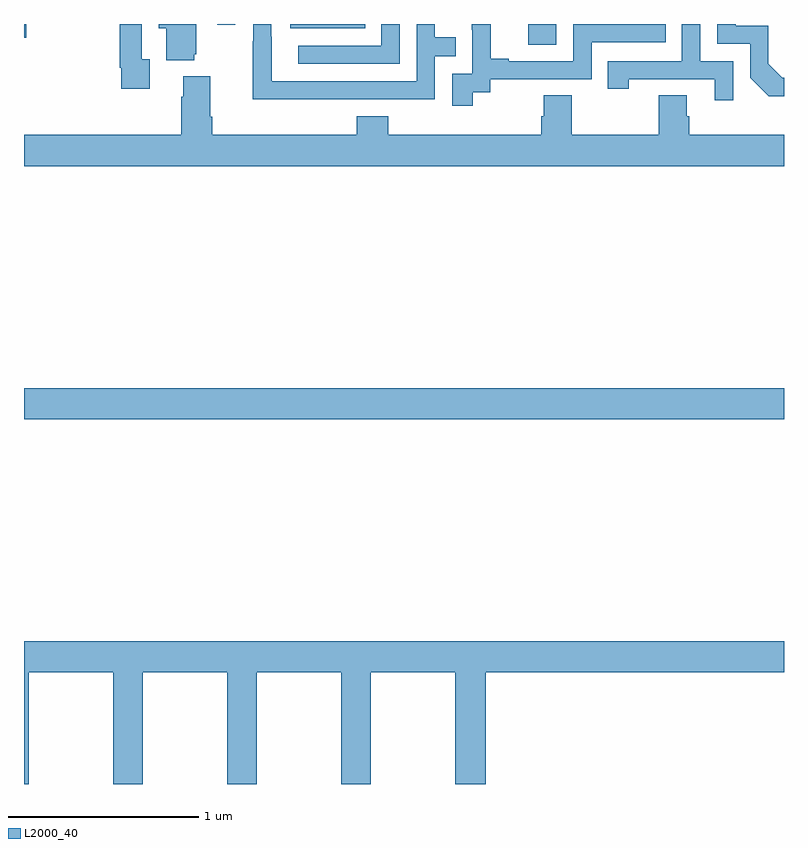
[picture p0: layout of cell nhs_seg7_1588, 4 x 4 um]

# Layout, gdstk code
import gdstk
lib = gdstk.Library(unit=1e-6, precision=1e-09)
def R(c, l, rs):  # rectangles x0, y0, x1, y1
    for r in rs: c.add(gdstk.rectangle(r[:2], r[2:], *l))
def P(c, l, *ps):  # polygons
    for p in ps: c.add(gdstk.Polygon(p, *l))
L2000_40 = (2000, 40)

nhs_seg7_1588 = lib.new_cell('nhs_seg7_1588')
R(nhs_seg7_1588, L2000_40, [(219,1029.92,223,1030.084), (221.655,1031.892,221.802,1032), (219,1031.927,219.013,1032), (220.4,1031.978,220.796,1032), (220.017,1031.997,220.113,1032)])
P(nhs_seg7_1588, L2000_40, [(222.732,1031.805),(222.558,1031.805),(222.558,1032),(222.462,1032),(222.462,1031.805),(222.073,1031.805),(222.073,1031.658),(222.184,1031.658),(222.184,1031.709),(222.635,1031.709),(222.635,1031.598),(222.732,1031.598)],
  [(220.667,1031.604),(221.163,1031.604),(221.163,1031.829),(221.273,1031.829),(221.273,1031.93),(221.163,1031.93),(221.163,1032),(221.067,1032),(221.067,1031.7),(220.303,1031.7),(220.303,1031.933),(220.302,1031.933),(220.302,1032),(220.206,1032),(220.206,1031.909),(220.204,1031.909),(220.204,1031.603),(220.667,1031.603)],
  [(221.362,1031.641),(221.454,1031.641),(221.454,1031.709),(221.988,1031.709),(221.988,1031.904),(222.377,1031.904),(222.377,1032),(221.892,1032),(221.892,1031.805),(221.551,1031.805),(221.551,1031.818),(221.456,1031.818),(221.456,1032),(221.357,1032),(221.357,1031.969),(221.358,1031.969),(221.358,1031.739),(221.253,1031.739),(221.253,1031.571),(221.362,1031.571)],
  [(219.661,1031.814),(219.621,1031.814),(219.621,1032),(219.505,1032),(219.505,1031.77),(219.513,1031.77),(219.513,1031.658),(219.661,1031.658)],
  [(220.977,1032),(220.881,1032),(220.881,1031.886),(220.443,1031.886),(220.443,1031.79),(220.977,1031.79)],
  [(223,1031.718),(222.99,1031.718),(222.918,1031.79),(222.918,1031.991),(222.745,1031.991),(222.745,1032),(222.648,1032),(222.648,1031.895),(222.822,1031.895),(222.822,1031.718),(222.92,1031.621),(223,1031.621)],
  [(219.896,1031.841),(219.907,1031.841),(219.907,1032),(219.71,1032),(219.71,1031.978),(219.749,1031.978),(219.749,1031.81),(219.896,1031.81)],
  [(223,1031.416),(222.5,1031.416),(222.5,1031.514),(222.487,1031.514),(222.487,1031.624),(222.34,1031.624),(222.34,1031.416),(221.883,1031.416),(221.883,1031.624),(221.735,1031.624),(221.735,1031.514),(221.723,1031.514),(221.723,1031.416),(220.916,1031.416),(220.916,1031.515),(220.751,1031.515),(220.751,1031.416),(219.992,1031.416),(219.992,1031.512),(219.979,1031.512),(219.979,1031.725),(219.839,1031.725),(219.839,1031.618),(219.827,1031.618),(219.827,1031.416),(219,1031.416),(219,1031.252),(223,1031.252)],
  [(219.024,1028.588),(219.469,1028.588),(219.469,1028),(219.624,1028),(219.624,1028.588),(220.069,1028.588),(220.069,1028),(220.224,1028),(220.224,1028.588),(220.669,1028.588),(220.669,1028),(220.824,1028),(220.824,1028.588),(221.269,1028.588),(221.269,1028),(221.429,1028),(221.429,1028.588),(223,1028.588),(223,1028.752),(219,1028.752),(219,1028),(219.024,1028)])

lib.write_gds('nhs_seg7_1588.gds')
